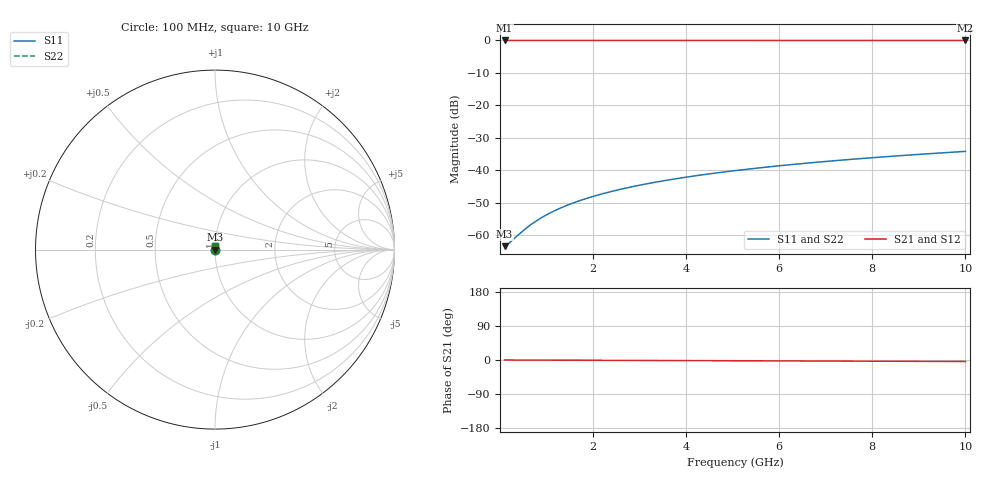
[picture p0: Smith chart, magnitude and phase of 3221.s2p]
# Hz S RI R 50.00
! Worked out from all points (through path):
!   100 points, 100 MHz to 10 GHz, reference 50 ohm
!   highest |S21| = -0.01 dB at 100 MHz (marker M1); lowest = 0.0 dB at 10 GHz (marker M2)
!   lowest |S11| = -63.3 dB at 100 MHz (marker M3), VSWR 1.00, Z = 50.1 + j0.0196 ohm
!   |S11| at or under -10 dB: start of sweep to end of sweep
!   |S22| runs from -63.3 to -34.1 dB; largest |S21 - S12| = 0
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1e8  0.000655 0.000196  0.9993 -0.000684  0.9993 -0.000684  0.000655 0.000196
2e8  0.000659 0.000391  0.9993 -0.00137  0.9993 -0.00137  0.000659 0.000391
5e8  0.00067 0.000978  0.9993 -0.00342  0.9993 -0.00342  0.00067 0.000978
6e8  0.000673 0.00117  0.9993 -0.0041  0.9993 -0.0041  0.000673 0.00117
7e8  0.000676 0.00137  0.9993 -0.00479  0.9993 -0.00479  0.000676 0.00137
9e8  0.000683 0.00176  0.9993 -0.00615  0.9993 -0.00615  0.000683 0.00176
1.1e9  0.000691 0.00215  0.9993 -0.00752  0.9993 -0.00752  0.000691 0.00215
1.3e9  0.0007 0.00254  0.9993 -0.00889  0.9993 -0.00889  0.0007 0.00254
1.5e9  0.000709 0.00293  0.9993 -0.0103  0.9993 -0.0103  0.000709 0.00293
1.8e9  0.000725 0.00352  0.9992 -0.0123  0.9992 -0.0123  0.000725 0.00352
2.1e9  0.000743 0.00411  0.9992 -0.0144  0.9992 -0.0144  0.000743 0.00411
2.5e9  0.00077 0.00489  0.9991 -0.0171  0.9991 -0.0171  0.00077 0.00489
2.9e9  0.000802 0.00567  0.9991 -0.0198  0.9991 -0.0198  0.000802 0.00567
3.4e9  0.000847 0.00665  0.999 -0.0233  0.999 -0.0233  0.000847 0.00665
3.8e9  0.000887 0.00743  0.9989 -0.026  0.9989 -0.026  0.000887 0.00743
4.2e9  0.000932 0.00821  0.9988 -0.0287  0.9988 -0.0287  0.000932 0.00821
5.1e9  0.00105 0.00997  0.9986 -0.0349  0.9986 -0.0349  0.00105 0.00997
5.9e9  0.00117 0.0115  0.9984 -0.0404  0.9984 -0.0404  0.00117 0.0115
6.7e9  0.00131 0.0131  0.9981 -0.0458  0.9981 -0.0458  0.00131 0.0131
7.5e9  0.00147 0.0146  0.9978 -0.0513  0.9978 -0.0513  0.00147 0.0146
8.4e9  0.00166 0.0164  0.9975 -0.0575  0.9975 -0.0575  0.00166 0.0164
1e10  0.00206 0.0195  0.9967 -0.0684  0.9967 -0.0684  0.00206 0.0195
